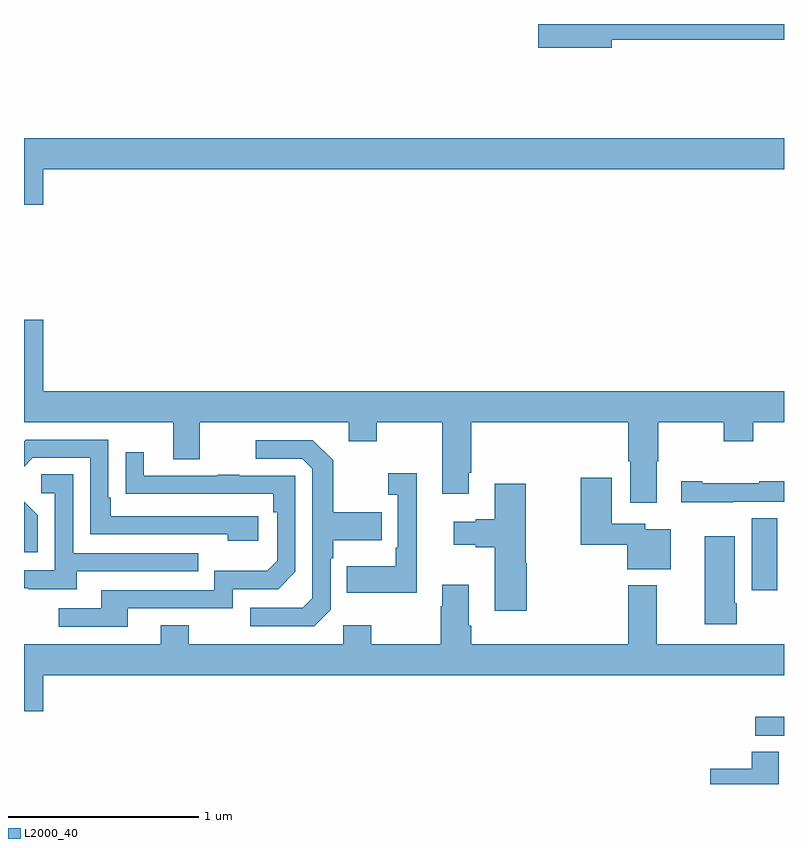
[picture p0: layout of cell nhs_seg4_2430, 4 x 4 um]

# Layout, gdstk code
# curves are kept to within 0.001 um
import gdstk
lib = gdstk.Library(unit=1e-6, precision=1e-09)
def R(c, l, rs):  # rectangles x0, y0, x1, y1
    for r in rs: c.add(gdstk.rectangle(r[:2], r[2:], *l))
def P(c, l, *ps):  # polygons
    for p in ps: c.add(gdstk.Polygon(p, *l))
L2000_40 = (2000, 40)

nhs_seg4_2430 = lib.new_cell('nhs_seg4_2430')
R(nhs_seg4_2430, L2000_40, [(240.849,811.155,241,811.254), (240.83,811.92,240.964,812.3)])
P(nhs_seg4_2430, L2000_40, [(240.094,814.816),(241,814.816),(241,814.9),(239.706,814.9),(239.706,814.774),(240.094,814.774)],
  [(237.1,814.136),(241,814.136),(241,814.3),(237,814.3),(237,813.948),(237.1,813.948)],
  [(240.331,812.6),(240.339,812.6),(240.339,812.804),(240.682,812.804),(240.682,812.705),(240.837,812.705),(240.837,812.804),(241,812.804),(241,812.968),(237.1,812.968),(237.1,813.343),(237,813.343),(237,812.804),(237.785,812.804),(237.785,812.61),(237.925,812.61),(237.925,812.804),(238.709,812.804),(238.709,812.705),(238.857,812.705),(238.857,812.804),(239.201,812.804),(239.201,812.427),(239.341,812.427),(239.341,812.539),(239.354,812.539),(239.354,812.804),(240.179,812.804),(240.179,812.599),(240.191,812.599),(240.191,812.379),(240.331,812.379)],
  [(238.234,812.31),(237.457,812.31),(237.457,812.407),(237.444,812.407),(237.444,812.712),(237.009,812.712),(237,812.703),(237,812.571),(237.045,812.616),(237.348,812.616),(237.348,812.214),(238.073,812.214),(238.073,812.18),(238.234,812.18)],
  [(238.614,811.818),(238.614,812.087),(238.627,812.087),(238.627,812.183),(238.883,812.183),(238.883,812.331),(238.627,812.331),(238.627,812.603),(238.521,812.709),(238.221,812.709),(238.221,812.613),(238.464,812.613),(238.518,812.559),(238.518,811.878),(238.467,811.827),(238.191,811.827),(238.191,811.731),(238.527,811.731)],
  [(237.547,811.824),(238.098,811.824),(238.098,811.926),(238.338,811.926),(238.428,812.016),(238.428,812.523),(238.133,812.523),(238.133,812.528),(238.021,812.528),(238.021,812.523),(237.631,812.523),(237.631,812.647),(237.535,812.647),(237.535,812.428),(238.312,812.427),(238.312,812.33),(238.332,812.33),(238.332,812.076),(238.279,812.023),(238.002,812.023),(238.002,811.92),(237.407,811.92),(237.407,811.824),(237.183,811.824),(237.183,811.728),(237.547,811.728)],
  [(239.066,812.536),(238.917,812.536),(238.917,812.423),(238.968,812.423),(238.968,812.143),(238.956,812.143),(238.956,812.047),(238.699,812.047),(238.699,811.907),(239.066,811.907)],
  [(237.277,812.019),(237.917,812.019),(237.917,812.115),(237.258,812.115),(237.258,812.531),(237.09,812.531),(237.09,812.43),(237.162,812.43),(237.162,812.025),(237,812.025),(237,811.929),(237.023,811.929),(237.023,811.925),(237.277,811.925)],
  [(240.403,812.242),(240.27,812.242),(240.27,812.269),(240.094,812.269),(240.094,812.512),(239.929,812.512),(239.929,812.159),(240.176,812.159),(240.176,812.03),(240.403,812.03)],
  [(240.734,812.385),(241,812.385),(241,812.494),(240.871,812.494),(240.871,812.484),(240.571,812.484),(240.571,812.494),(240.459,812.494),(240.459,812.384),(240.734,812.384)],
  [(239.645,812.063),(239.64,812.063),(239.64,812.479),(239.477,812.479),(239.477,812.294),(239.378,812.294),(239.378,812.281),(239.262,812.281),(239.262,812.159),(239.378,812.159),(239.378,812.147),(239.477,812.147),(239.477,811.812),(239.645,811.812)],
  [(237.072,812.314),(237,812.386),(237,812.121),(237.072,812.121)],
  [(240.75,811.852),(240.742,811.852),(240.742,812.203),(240.584,812.203),(240.584,811.74),(240.75,811.74)],
  [(237.1,811.472),(241,811.472),(241,811.636),(240.331,811.636),(240.331,811.945),(240.179,811.945),(240.179,811.636),(239.354,811.636),(239.354,811.732),(239.341,811.732),(239.341,811.948),(239.201,811.948),(239.201,811.835),(239.194,811.835),(239.194,811.636),(238.827,811.636),(238.827,811.735),(238.68,811.735),(238.68,811.636),(237.867,811.636),(237.867,811.735),(237.719,811.735),(237.719,811.636),(237,811.636),(237,811.284),(237.1,811.284)],
  [(240.973,811.07),(240.83,811.07),(240.83,810.98),(240.612,810.98),(240.612,810.9),(240.973,810.9)])

lib.write_gds('nhs_seg4_2430.gds')
